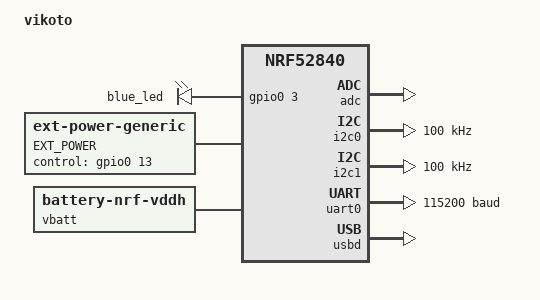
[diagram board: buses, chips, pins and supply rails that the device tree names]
/*
 * Copyright (c) 2020 The ZMK Contributors
 *
 * SPDX-License-Identifier: MIT
 */

/dts-v1/;
#include <nordic/nrf52840_qiaa.dtsi>
#include "arduino_pro_micro_pins.dtsi"
#include "vik_connector.dtsi"
#include "vikoto-pinctrl.dtsi"

/ {
    model = "vikoto";
    compatible = "sadekbaroudi,vikoto";

    chosen {
        zephyr,code-partition = &code_partition;
        zephyr,sram = &sram0;
        zephyr,flash = &flash0;
        zephyr,console = &cdc_acm_uart;
        zmk,battery = &vbatt;
    };

    leds {
        compatible = "gpio-leds";
        blue_led: led_0 {
            gpios = <&gpio0 3 GPIO_ACTIVE_HIGH>; // was 0,15 on mikoto
        };
    };

    // Node name must match original "EXT_POWER" label to preserve user settings.
    EXT_POWER {
        compatible = "zmk,ext-power-generic";
        control-gpios = <&gpio0 13 GPIO_ACTIVE_HIGH>;
        init-delay-ms = <50>;
    };

    vbatt: vbatt {
        compatible = "zmk,battery-nrf-vddh";
    };
};

&adc {
    status = "okay";
};

&gpiote {
    status = "okay";
};

&gpio0 {
    status = "okay";

    /*
    // enables ZMK ext_power on startup, might be needed for some modules
    vcc_shdn {
        gpio-hog;
        gpios = <13 GPIO_ACTIVE_HIGH>;
        output-high;
    };

    // If you want to enable 5V on startup automatically
    5v_shdn {
        gpio-hog;
        gpios = <12 GPIO_ACTIVE_HIGH>;
        output-high;
    };
    */
};

&gpio1 {
    status = "okay";
};

&i2c0 {
    compatible = "nordic,nrf-twi";
    clock-frequency = <I2C_BITRATE_STANDARD>;
    pinctrl-0 = <&i2c0_default>;
    pinctrl-1 = <&i2c0_sleep>;
    pinctrl-names = "default", "sleep";
};

&i2c1 {
    compatible = "nordic,nrf-twi";
    clock-frequency = <I2C_BITRATE_STANDARD>;
    pinctrl-0 = <&i2c1_default>;
    pinctrl-1 = <&i2c1_sleep>;
    pinctrl-names = "default", "sleep";
};

&spi1 {
    compatible = "nordic,nrf-spim";
    pinctrl-0 = <&spi1_vik_pmw3610_default>;
    pinctrl-1 = <&spi1_vik_pmw3610_sleep>;
    pinctrl-names = "default", "sleep";
};

&spi2 {
    compatible = "nordic,nrf-spim";
    pinctrl-0 = <&spi2_default>;
    pinctrl-1 = <&spi2_sleep>;
    pinctrl-names = "default", "sleep";
//    cs-gpios = <&gpio0 9 GPIO_ACTIVE_LOW>;
};

&spi3 {
    compatible = "nordic,nrf-spim";
    pinctrl-0 = <&spi3_default>;
    pinctrl-1 = <&spi3_sleep>;
    pinctrl-names = "default", "sleep";
    cs-gpios = <&gpio0 6 GPIO_ACTIVE_LOW>;
};

&uart0 {
    compatible = "nordic,nrf-uarte";
    current-speed = <115200>;
    pinctrl-0 = <&uart0_default>;
    pinctrl-1 = <&uart0_sleep>;
    pinctrl-names = "default", "sleep";
};

&usbd {
    status = "okay";
    cdc_acm_uart: cdc_acm_uart {
        compatible = "zephyr,cdc-acm-uart";
    };
};

&flash0 {
    /*
     * For more information, see:
     * http://docs.zephyrproject.org/latest/devices/dts/flash_partitions.html
     */
    partitions {
        compatible = "fixed-partitions";
        #address-cells = <1>;
        #size-cells = <1>;

        sd_partition: partition@0 {
            reg = <0x00000000 0x00026000>;
        };
        code_partition: partition@26000 {
            reg = <0x00026000 0x000c6000>;
        };

        /*
         * The flash starting at 0x000ec000 and ending at
         * 0x000f3fff is reserved for use by the application.
         */

        /*
         * Storage partition will be used by FCB/LittleFS/NVS
         * if enabled.
         */
        storage_partition: partition@ec000 {
            reg = <0x000ec000 0x00008000>;
        };

        boot_partition: partition@f4000 {
            reg = <0x000f4000 0x0000c000>;
        };
    };
};
